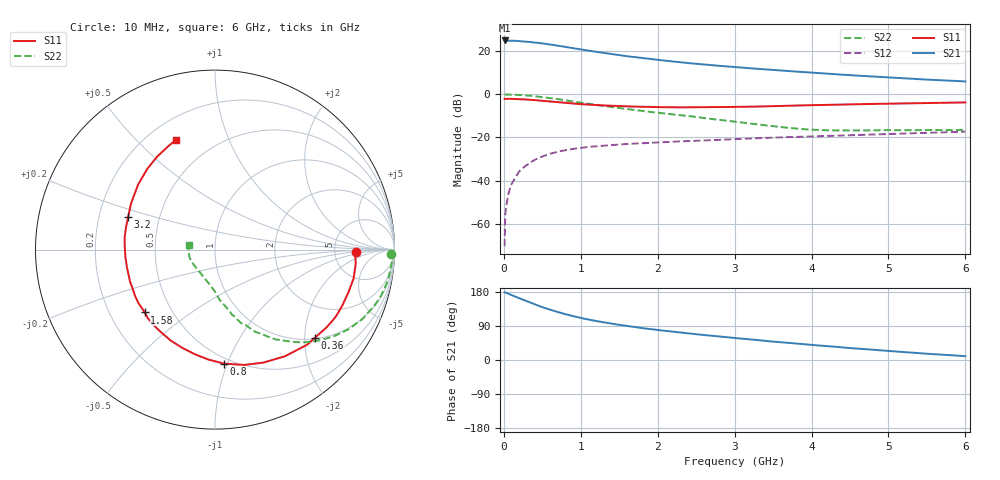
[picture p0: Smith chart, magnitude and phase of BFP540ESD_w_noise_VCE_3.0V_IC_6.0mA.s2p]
! Infineon Technologies  Discrete & RF Semiconductors
! BFP540ESD
! VCE =  3.0 V,  IC =  6.0 mA
! Common Emitter S-Parameters:  Nov 2015
# GHz  S  MA  R  50
!  f  S11  S21  S12  S22
! GHz  MAG  ANG  MAG  ANG  MAG  ANG  MAG  ANG
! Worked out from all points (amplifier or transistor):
!   210 points, 10 MHz to 6 GHz, reference 50 ohm
!   highest |S21| = 25.0 dB at 10 MHz (marker M1)
!   |S21| within 3 dB of that: start of sweep to 803.2 MHz
!   unconditionally stable (mu >= 1): start of sweep to 10.76 MHz; 3.156 GHz to end of sweep
!   at 185 MHz: K = 0.07, MSG = 30.7 dB, |S12| = -36.6 dB
!   at 1.52 GHz: K = 0.55, MSG = 20.7 dB, |S12| = -23.2 dB
!   at 6 GHz: K = 1.20, MAG = 8.9 dB, |S12| = -17.3 dB
!   lowest NFmin = 0.73 dB at 900 MHz
!   S11 on the Smith chart (normalised r, x): 10 MHz: 8.26, -0.53; 360 MHz: 1.03, -2.25; 800 MHz: 0.46, -0.97; 1.58 GHz: 0.35, -0.34; 3.2 GHz: 0.33, +0.16; 6 GHz: 0.31, +0.66
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0.01  0.7849 -0.9  17.81 178.7  0.0003 87.3  0.9801 -1.3
0.015  0.7836 -1.8  17.68 178.6  0.001 93.5  0.9866 -1.3
0.02  0.7825 -2.7  17.56 178.4  0.0017 94.6  0.993 -1.3
0.08  0.7875 -9.4  17.61 173.0  0.0066 87.2  0.9858 -5.3
0.2  0.775 -23.5  17.25 162.9  0.0162 79.3  0.9685 -13.1
0.3  0.7578 -34.8  16.71 154.7  0.023 74.5  0.9417 -19.3
0.36  0.7427 -41.3  16.24 150.0  0.0272 71.4  0.92 -22.8
0.5  0.7108 -56.7  15.27 139.4  0.0361 65.9  0.8647 -31.0
0.58  0.6884 -64.7  14.51 133.9  0.0407 62.2  0.8275 -35.0
0.7  0.663 -75.8  13.5 126.7  0.0466 57.7  0.774 -40.7
0.8  0.6369 -85.5  12.64 120.8  0.0507 54.0  0.7275 -45.2
0.9  0.6138 -93.4  11.8 115.6  0.0543 51.5  0.6842 -48.9
1.02  0.589 -102.6  10.9 110.3  0.058 48.4  0.635 -53.0
1.2  0.5636 -115.9  9.705 102.8  0.0626 44.3  0.5704 -58.5
1.58  0.5253 -138.2  7.771 90.4  0.0702 39.5  0.461 -67.2
2.02  0.5056 -159.6  6.264 78.6  0.0772 35.6  0.3719 -75.5
2.6  0.5035 178.2  4.923 65.9  0.0853 32.2  0.2809 -84.8
3.1  0.5136 162.5  4.164 56.2  0.0928 30.0  0.221 -92.6
3.2  0.5168 159.6  4.037 54.5  0.0943 29.4  0.2107 -95.0
4.1  0.5651 137.7  3.106 38.2  0.1065 24.8  0.1487 -129.0
5.1  0.6139 120.3  2.417 22.4  0.1214 19.8  0.1478 -165.0
6  0.65 109.4  1.997 10.1  0.136 15.8  0.1494 169.9
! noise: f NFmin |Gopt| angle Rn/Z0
0.9  0.73  0.05  38  0.12
1.8  0.95  0.08  153  0.11
2.4  0.97  0.09  154  0.1
3  1.1  0.19  178  0.09
4  1.28  0.3  -122  0.14
5  1.5  0.42  -99  0.29
6  1.73  0.51  -100  0.43
